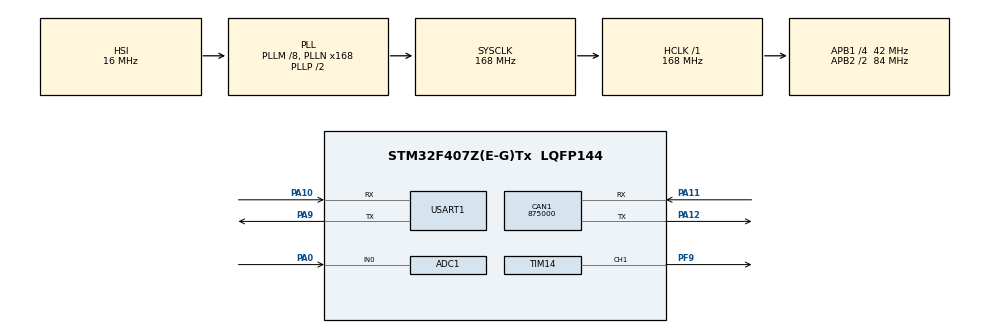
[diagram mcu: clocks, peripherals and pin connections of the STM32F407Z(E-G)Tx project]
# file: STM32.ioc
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ADC1.Channel-2\#ChannelRegularConversion=ADC_CHANNEL_0
ADC1.DMAContinuousRequests=ENABLE
ADC1.ExternalTrigConv=ADC_EXTERNALTRIGCONV_T2_TRGO
ADC1.NbrOfConversionFlag=1
ADC1.Rank-2\#ChannelRegularConversion=1
ADC1.SamplingTime-2\#ChannelRegularConversion=ADC_SAMPLETIME_3CYCLES
ADC1.master=1
CAN1.CalculateBaudRate=875000
CAN1.CalculateTimeBit=1142
CAN1.CalculateTimeQuantum=380.95238095238096
Dma.ADC1.0.Direction=DMA_PERIPH_TO_MEMORY
Dma.ADC1.0.FIFOMode=DMA_FIFOMODE_DISABLE
Dma.ADC1.0.Instance=DMA2_Stream0
Dma.ADC1.0.MemDataAlignment=DMA_MDATAALIGN_HALFWORD
Dma.ADC1.0.MemInc=DMA_MINC_ENABLE
Dma.ADC1.0.Mode=DMA_CIRCULAR
Dma.ADC1.0.PeriphDataAlignment=DMA_PDATAALIGN_HALFWORD
Dma.ADC1.0.PeriphInc=DMA_PINC_DISABLE
Dma.ADC1.0.Priority=DMA_PRIORITY_LOW
Dma.Request0=ADC1
Mcu.Family=STM32F4
Mcu.Name=STM32F407Z(E-G)Tx
Mcu.Package=LQFP144
NVIC.CAN1_RX0_IRQn=true\:0\:0\:false\:false\:true\:true\:true\:true
NVIC.DMA2_Stream0_IRQn=true\:0\:0\:false\:false\:true\:false\:true\:true
NVIC.PriorityGroup=NVIC_PRIORITYGROUP_4
NVIC.TIM7_IRQn=true\:0\:0\:false\:false\:true\:true\:true\:true
NVIC.USART1_IRQn=true\:0\:0\:false\:false\:true\:true\:true\:true
PA0-WKUP.Signal=ADCx_IN0
PA10.Mode=Asynchronous
PA10.Signal=USART1_RX
PA11.Mode=CAN_Activate
PA11.Signal=CAN1_RX
PA12.Mode=CAN_Activate
PA12.Signal=CAN1_TX
PA13.Mode=Serial_Wire
PA13.Signal=SYS_JTMS-SWDIO
PA14.Mode=Serial_Wire
PA14.Signal=SYS_JTCK-SWCLK
PA9.Mode=Asynchronous
PA9.Signal=USART1_TX
PF9.Signal=S_TIM14_CH1
ProjectManager.HeapSize=0x200
ProjectManager.StackSize=0x400
ProjectManager.TargetToolchain=STM32CubeIDE
RCC.48MHZClocksFreq_Value=84000000
RCC.AHBFreq_Value=168000000
RCC.APB1CLKDivider=RCC_HCLK_DIV4
RCC.APB1Freq_Value=42000000
RCC.APB1TimFreq_Value=84000000
RCC.APB2CLKDivider=RCC_HCLK_DIV2
RCC.APB2Freq_Value=84000000
RCC.APB2TimFreq_Value=168000000
RCC.CortexFreq_Value=168000000
RCC.HCLKFreq_Value=168000000
RCC.HSE_VALUE=25000000
RCC.HSI_VALUE=16000000
RCC.LSE_VALUE=32768
RCC.PLLM=8
RCC.PLLN=168
RCC.SYSCLKFreq_VALUE=168000000
RCC.SYSCLKSource=RCC_SYSCLKSOURCE_PLLCLK
RCC.VCOOutputFreq_Value=336000000
SH.ADCx_IN0.0=ADC1_IN0,IN0
SH.S_TIM14_CH1.0=TIM14_CH1,PWM Generation1 CH1
TIM14.Channel=TIM_CHANNEL_1
TIM14.Period=255
TIM14.Prescaler=167
TIM2.Period=4
TIM2.Prescaler=83
TIM2.TIM_MasterOutputTrigger=TIM_TRGO_UPDATE
TIM7.Period=999
TIM7.Prescaler=167
USART1.VirtualMode=VM_ASYNC
VP_TIM14_VS_ClockSourceINT.Mode=Enable_Timer
VP_TIM2_VS_ClockSourceINT.Mode=Internal
VP_TIM7_VS_ClockSourceINT.Mode=Enable_Timer
board=custom

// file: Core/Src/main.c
/* USER CODE BEGIN Header */
/**
  ******************************************************************************
  * @file           : main.c
  * @brief          : Main program body
  ******************************************************************************
  * @attention
  *
  * Copyright (c) 2025 STMicroelectronics.
  * All rights reserved.
  *
  * This software is licensed under terms that can be found in the LICENSE file
  * in the root directory of this software component.
  * If no LICENSE file comes with this software, it is provided AS-IS.
  *
  ******************************************************************************
  */
/* USER CODE END Header */
#include "main.h"

/* USER CODE BEGIN Includes */
#include <string.h>
#include <stdio.h>
#include <stdlib.h>

#include "motor_task.h"
#include "dji_motor.h"
/* USER CODE END Includes */

ADC_HandleTypeDef hadc1;
DMA_HandleTypeDef hdma_adc1;

CAN_HandleTypeDef hcan1;

TIM_HandleTypeDef htim2;
TIM_HandleTypeDef htim7;
TIM_HandleTypeDef htim14;

UART_HandleTypeDef huart1;

/* USER CODE BEGIN PV */
//灯光部分
typedef enum {
  MODE_OFF = 0,
  MODE_ON,
  MODE_BLINK,
  MODE_BREATHE
} LightMode_t;

volatile LightMode_t current_mode = MODE_OFF;

volatile uint8_t  target_brightness = 128;
volatile uint16_t target_freq = 1;

static uint8_t rx_char = 0;
static char    rx_buf[64];
static uint8_t rx_idx = 0;

static uint32_t last_tick_ms = 0;
static uint8_t  blink_state = 0;

static int8_t   breathe_dir = 1;
static float    breathe_val = 0.0f;

//测量部份
#define ADC_FS_HZ   200000u
#define ADC_BUF_LEN 2048u

extern ADC_HandleTypeDef hadc1;
extern TIM_HandleTypeDef htim2;
extern UART_HandleTypeDef huart1;

static uint16_t adc_buf[ADC_BUF_LEN];
static volatile uint8_t adc_half_ready = 0;
static volatile uint8_t adc_full_ready = 0;

static volatile uint32_t freq_hz = 0;

//电机部分
static MotorCtrl_t g_motor;

/* USER CODE END PV */

void SystemClock_Config(void);
static void MX_GPIO_Init(void);
static void MX_DMA_Init(void);
static void MX_TIM14_Init(void);
static void MX_USART1_UART_Init(void);
static void MX_ADC1_Init(void);
static void MX_TIM2_Init(void);
static void MX_CAN1_Init(void);
static void MX_TIM7_Init(void);

/* USER CODE BEGIN 0 */

//灯光部分
static void UART_Send(const char *s)
{
  HAL_UART_Transmit(&huart1, (uint8_t*)s, (uint16_t)strlen(s), 200);
}

static void rtrim(char *s)
{
  size_t n = strlen(s);
  while (n > 0) {
    char c = s[n - 1];
    if (c == ' ' || c == '\t') {
      s[n - 1] = '\0';
      n--;
    } else {
      break;
    }
  }
}

static uint16_t clamp_u16(int v, int lo, int hi)
{
  if (v < lo) return (uint16_t)lo;
  if (v > hi) return (uint16_t)hi;
  return (uint16_t)v;
}

static uint8_t clamp_u8(int v, int lo, int hi)
{
  if (v < lo) return (uint8_t)lo;
  if (v > hi) return (uint8_t)hi;
  return (uint8_t)v;
}

static void PWM_Set(uint8_t b)
{
  __HAL_TIM_SET_COMPARE(&htim14, TIM_CHANNEL_1, b);
}

static void parse_command(char *cmd)
{
  rtrim(cmd);

  if (strcmp(cmd, "set_mode on") == 0) {
    current_mode = MODE_ON;
    UART_Send("OK: mode=ON\r\n");
    return;
  }

  if (strcmp(cmd, "set_mode off") == 0) {
    current_mode = MODE_OFF;
    UART_Send("OK: mode=OFF\r\n");
    return;
  }

  if (strncmp(cmd, "set_mode blink", 14) == 0) {
    int f = atoi(cmd + 15);
    target_freq = clamp_u16(f, 1, 20);
    current_mode = MODE_BLINK;
    UART_Send("OK: mode=BLINK\r\n");
    return;
  }

  if (strncmp(cmd, "set_mode breathe", 16) == 0) {
    int f = atoi(cmd + 17);
    target_freq = clamp_u16(f, 1, 20);
    current_mode = MODE_BREATHE;
    UART_Send("OK: mode=BREATHE\r\n");
    return;
  }

  if (strncmp(cmd, "set_brightness", 14) == 0) {
    int b = atoi(cmd + 15);
    target_brightness = clamp_u8(b, 0, 255);
    UART_Send("OK: brightness updated\r\n");
    return;
  }

  //电机部分
  if (strncmp(cmd, "set_vel", 7) == 0) {
      int v = atoi(cmd + 8);
      MotorTask_SetVel(&g_motor, v);
      UART_Send("OK: motor set_vel\r\n");
      return;
  }

  if (strncmp(cmd, "set_pos", 7) == 0) {
      int p = atoi(cmd + 8);
      MotorTask_SetPos(&g_motor, p);
      UART_Send("OK: motor set_pos\r\n");
      return;
  }
  UART_Send("ERR: unknown command\r\n");

}

//测量部份
static uint32_t estimate_freq_hz(const uint16_t *buf, uint32_t len)
{
  uint16_t mn = 0xFFFF, mx = 0;
  for (uint32_t i = 0; i < len; i++) {
    uint16_t v = buf[i];
    if (v < mn) mn = v;
    if (v > mx) mx = v;
  }
  uint16_t thr = (uint16_t)((mn + mx) / 2u);

  uint32_t edges[64];
  uint32_t ecnt = 0;

  uint16_t prev = buf[0];
  for (uint32_t i = 1; i < len; i++) {
    uint16_t cur = buf[i];
    if (prev < thr && cur > thr) {
      if (ecnt < 64) edges[ecnt++] = i;
    }
    prev = cur;
  }

  if (ecnt < 2) return 0;

  uint32_t sum = 0, cnt = 0;
  for (uint32_t k = 1; k < ecnt; k++) {
    uint32_t d = edges[k] - edges[k-1];
    if (d >= 10 && d <= 1000) { sum += d; cnt++; }
  }
  if (cnt == 0) return 0;

  uint32_t avg = sum / cnt;
  return (uint32_t)(ADC_FS_HZ / avg);
}

static void uart_print_freq(uint32_t f)
{
  char msg[64];
  int n = snprintf(msg, sizeof(msg), "MEAS: %lu Hz\r\n", (unsigned long)f);
  if (n > 0) HAL_UART_Transmit(&huart1, (uint8_t*)msg, strlen(msg), 200);
}

//数字转模拟 报文
#define ADC_MAX_CODE 4095u
#define ADC_VREF_MV  3300u

typedef struct {
  uint32_t freq_hz;
  uint16_t vmin_mv;
  uint16_t vmax_mv;
  uint16_t vpp_mv;
  uint16_t vavg_mv;
} MeasResult_t;

static void measure_voltage_and_freq(const uint16_t *buf, uint32_t len, MeasResult_t *out)
{
  uint32_t sum = 0;
  uint16_t mn = 0xFFFF, mx = 0;

  for (uint32_t i = 0; i < len; i++) {
    uint16_t v = buf[i];
    if (v < mn) mn = v;
    if (v > mx) mx = v;
    sum += v;
  }

  uint32_t avg_code = (len > 0) ? (sum / len) : 0;

  uint32_t vmin_mv = (uint32_t)mn * ADC_VREF_MV / ADC_MAX_CODE;
  uint32_t vmax_mv = (uint32_t)mx * ADC_VREF_MV / ADC_MAX_CODE;
  uint32_t vavg_mv = (uint32_t)avg_code * ADC_VREF_MV / ADC_MAX_CODE;

  out->vmin_mv = (uint16_t)vmin_mv;
  out->vmax_mv = (uint16_t)vmax_mv;
  out->vpp_mv  = (uint16_t)(vmax_mv - vmin_mv);
  out->vavg_mv = (uint16_t)vavg_mv;

  out->freq_hz = estimate_freq_hz(buf, len);
}

static void uart_send_meas_frame(const MeasResult_t *m)
{
  uint8_t frame[17];
  frame[0] = 0xAA;
  frame[1] = 0x55;
  frame[2] = 0x01;
  frame[3] = 12;

  uint32_t f = m->freq_hz;
  frame[4]  = (uint8_t)(f);
  frame[5]  = (uint8_t)(f >> 8);
  frame[6]  = (uint8_t)(f >> 16);
  frame[7]  = (uint8_t)(f >> 24);

  uint16_t v;

  v = m->vmin_mv;
  frame[8]  = (uint8_t)(v);
  frame[9]  = (uint8_t)(v >> 8);

  v = m->vmax_mv;
  frame[10] = (uint8_t)(v);
  frame[11] = (uint8_t)(v >> 8);

  v = m->vpp_mv;
  frame[12] = (uint8_t)(v);
  frame[13] = (uint8_t)(v >> 8);

  v = m->vavg_mv;
  frame[14] = (uint8_t)(v);
  frame[15] = (uint8_t)(v >> 8);

  uint8_t cs = 0;
  for (int i = 2; i <= 15; i++) cs += frame[i];
  frame[16] = cs;

  HAL_UART_Transmit(&huart1, frame, sizeof(frame), 200);
}

static void uart_print_meas_text(const MeasResult_t *m)
{
  char msg[96];
  int n = snprintf(msg, sizeof(msg),
                   "MEAS: %lu Hz, Vmin=%umV, Vmax=%umV, Vpp=%umV, Vavg=%umV\r\n",
                   (unsigned long)m->freq_hz,
                   (unsigned)m->vmin_mv,
                   (unsigned)m->vmax_mv,
                   (unsigned)m->vpp_mv,
                   (unsigned)m->vavg_mv);
  if (n > 0) HAL_UART_Transmit(&huart1, (uint8_t*)msg, (uint16_t)strlen(msg), 200);
}
/* USER CODE END 0 */

int main(void)
{

  /* MCU Configuration--------------------------------------------------------*/

  /* Reset of all peripherals, Initializes the Flash interface and the Systick. */
  HAL_Init();

  /* Configure the system clock */
  SystemClock_Config();

  /* Initialize all configured peripherals */
  MX_GPIO_Init();
  MX_DMA_Init();
  MX_TIM14_Init();
  MX_USART1_UART_Init();
  MX_ADC1_Init();
  MX_TIM2_Init();
  MX_CAN1_Init();
  MX_TIM7_Init();
  /* USER CODE BEGIN 2 */
  //灯光部分
  HAL_TIM_PWM_Start(&htim14, TIM_CHANNEL_1);
  HAL_UART_Receive_IT(&huart1, &rx_char, 1);

  UART_Send("System Boot OK. Awaiting commands...\r\n");

  PWM_Set(0);
  current_mode = MODE_OFF;

  last_tick_ms = HAL_GetTick();
  blink_state = 0;
  breathe_dir = 1;
  breathe_val = 0.0f;

  //测量部份
  HAL_TIM_Base_Start(&htim2);
  HAL_ADC_Start_DMA(&hadc1, (uint32_t*)adc_buf, ADC_BUF_LEN);

  //电机部分
  MotorTask_Init(&g_motor);

  HAL_TIM_Base_Start_IT(&htim7);

  HAL_CAN_Start(&hcan1);
  HAL_CAN_ActivateNotification(&hcan1, CAN_IT_RX_FIFO0_MSG_PENDING);

  UART_Send("Motor module ready. Commands: set_vel / set_pos\r\n");

  /* USER CODE END 2 */

  /* Infinite loop */
  /* USER CODE BEGIN WHILE */
  while (1)
  {
	  //灯光部分
	  uint32_t now = HAL_GetTick();

	  switch (current_mode)
	  {
	    case MODE_OFF:
	      PWM_Set(0);
	      break;

	    case MODE_ON:
	      PWM_Set((uint8_t)target_brightness);
	      break;

	    case MODE_BLINK:
	    {
	      uint16_t f = target_freq;
	      uint32_t half_ms = 500u / (uint32_t)f;

	      if ((now - last_tick_ms) >= half_ms) {
	        blink_state = (uint8_t)!blink_state;
	        PWM_Set(blink_state ? (uint8_t)target_brightness : 0);
	        last_tick_ms = now;
	      }
	      break;
	    }

	    case MODE_BREATHE:
	    {
	      if ((now - last_tick_ms) >= 10u) {
	        uint16_t f = target_freq;
	        float peak = (float)target_brightness;

	        float step = peak * ((float)f) / 50.0f;

	        breathe_val += (float)breathe_dir * step;

	        if (breathe_val >= peak) { breathe_val = peak; breathe_dir = -1; }
	        if (breathe_val <= 0.0f) { breathe_val = 0.0f; breathe_dir =  1; }

	        PWM_Set((uint8_t)(breathe_val + 0.5f));
	        last_tick_ms = now;
	      }
	      break;
	    }

	    default:
	      PWM_Set(0);
	      current_mode = MODE_OFF;
	      break;
	  }

	  //测量部份
	  /* ===== 测量：半缓冲/满缓冲处理 ===== */
	  if (adc_half_ready) {
	    adc_half_ready = 0;

	    MeasResult_t m;
	    measure_voltage_and_freq(&adc_buf[0], ADC_BUF_LEN/2, &m);
	    uart_send_meas_frame(&m);

	    uart_print_meas_text(&m);
	  }

	  if (adc_full_ready) {
	    adc_full_ready = 0;

	    MeasResult_t m;
	    measure_voltage_and_freq(&adc_buf[ADC_BUF_LEN/2], ADC_BUF_LEN/2, &m);

	    uart_send_meas_frame(&m);
	    uart_print_meas_text(&m);
	  }

    /* USER CODE END WHILE */

  }
}

void SystemClock_Config(void)
{
  RCC_OscInitTypeDef RCC_OscInitStruct = {0};
  RCC_ClkInitTypeDef RCC_ClkInitStruct = {0};

  /** Configure the main internal regulator output voltage
  */
  __HAL_RCC_PWR_CLK_ENABLE();
  __HAL_PWR_VOLTAGESCALING_CONFIG(PWR_REGULATOR_VOLTAGE_SCALE1);

  /** Initializes the RCC Oscillators according to the specified parameters
  * in the RCC_OscInitTypeDef structure.
  */
  RCC_OscInitStruct.OscillatorType = RCC_OSCILLATORTYPE_HSI;
  RCC_OscInitStruct.HSIState = RCC_HSI_ON;
  RCC_OscInitStruct.HSICalibrationValue = RCC_HSICALIBRATION_DEFAULT;
  RCC_OscInitStruct.PLL.PLLState = RCC_PLL_ON;
  RCC_OscInitStruct.PLL.PLLSource = RCC_PLLSOURCE_HSI;
  RCC_OscInitStruct.PLL.PLLM = 8;
  RCC_OscInitStruct.PLL.PLLN = 168;
  RCC_OscInitStruct.PLL.PLLP = RCC_PLLP_DIV2;
  RCC_OscInitStruct.PLL.PLLQ = 4;
  if (HAL_RCC_OscConfig(&RCC_OscInitStruct) != HAL_OK)
  {
    Error_Handler();
  }

  /** Initializes the CPU, AHB and APB buses clocks
  */
  RCC_ClkInitStruct.ClockType = RCC_CLOCKTYPE_HCLK|RCC_CLOCKTYPE_SYSCLK
                              |RCC_CLOCKTYPE_PCLK1|RCC_CLOCKTYPE_PCLK2;
  RCC_ClkInitStruct.SYSCLKSource = RCC_SYSCLKSOURCE_PLLCLK;
  RCC_ClkInitStruct.AHBCLKDivider = RCC_SYSCLK_DIV1;
  RCC_ClkInitStruct.APB1CLKDivider = RCC_HCLK_DIV4;
  RCC_ClkInitStruct.APB2CLKDivider = RCC_HCLK_DIV2;

  if (HAL_RCC_ClockConfig(&RCC_ClkInitStruct, FLASH_LATENCY_5) != HAL_OK)
  {
    Error_Handler();
  }
}

static void MX_ADC1_Init(void)
{

  ADC_ChannelConfTypeDef sConfig = {0};

  /** Configure the global features of the ADC (Clock, Resolution, Data Alignment and number of conversion)
  */
  hadc1.Instance = ADC1;
  hadc1.Init.ClockPrescaler = ADC_CLOCK_SYNC_PCLK_DIV4;
  hadc1.Init.Resolution = ADC_RESOLUTION_12B;
  hadc1.Init.ScanConvMode = DISABLE;
  hadc1.Init.ContinuousConvMode = DISABLE;
  hadc1.Init.DiscontinuousConvMode = DISABLE;
  hadc1.Init.ExternalTrigConvEdge = ADC_EXTERNALTRIGCONVEDGE_RISING;
  hadc1.Init.ExternalTrigConv = ADC_EXTERNALTRIGCONV_T2_TRGO;
  hadc1.Init.DataAlign = ADC_DATAALIGN_RIGHT;
  hadc1.Init.NbrOfConversion = 1;
  hadc1.Init.DMAContinuousRequests = ENABLE;
  hadc1.Init.EOCSelection = ADC_EOC_SINGLE_CONV;
  if (HAL_ADC_Init(&hadc1) != HAL_OK)
  {
    Error_Handler();
  }

  /** Configure for the selected ADC regular channel its corresponding rank in the sequencer and its sample time.
  */
  sConfig.Channel = ADC_CHANNEL_0;
  sConfig.Rank = 1;
  sConfig.SamplingTime = ADC_SAMPLETIME_3CYCLES;
  if (HAL_ADC_ConfigChannel(&hadc1, &sConfig) != HAL_OK)
  {
    Error_Handler();
  }

}

static void MX_CAN1_Init(void)
{

  hcan1.Instance = CAN1;
  hcan1.Init.Prescaler = 16;
  hcan1.Init.Mode = CAN_MODE_NORMAL;
  hcan1.Init.SyncJumpWidth = CAN_SJW_1TQ;
  hcan1.Init.TimeSeg1 = CAN_BS1_1TQ;
  hcan1.Init.TimeSeg2 = CAN_BS2_1TQ;
  hcan1.Init.TimeTriggeredMode = DISABLE;
  hcan1.Init.AutoBusOff = DISABLE;
  hcan1.Init.AutoWakeUp = DISABLE;
  hcan1.Init.AutoRetransmission = DISABLE;
  hcan1.Init.ReceiveFifoLocked = DISABLE;
  hcan1.Init.TransmitFifoPriority = DISABLE;
  if (HAL_CAN_Init(&hcan1) != HAL_OK)
  {
    Error_Handler();
  }

}

static void MX_TIM2_Init(void)
{

  TIM_ClockConfigTypeDef sClockSourceConfig = {0};
  TIM_MasterConfigTypeDef sMasterConfig = {0};

  htim2.Instance = TIM2;
  htim2.Init.Prescaler = 83;
  htim2.Init.CounterMode = TIM_COUNTERMODE_UP;
  htim2.Init.Period = 4;
  htim2.Init.ClockDivision = TIM_CLOCKDIVISION_DIV1;
  htim2.Init.AutoReloadPreload = TIM_AUTORELOAD_PRELOAD_DISABLE;
  if (HAL_TIM_Base_Init(&htim2) != HAL_OK)
  {
    Error_Handler();
  }
  sClockSourceConfig.ClockSource = TIM_CLOCKSOURCE_INTERNAL;
  if (HAL_TIM_ConfigClockSource(&htim2, &sClockSourceConfig) != HAL_OK)
  {
    Error_Handler();
  }
  sMasterConfig.MasterOutputTrigger = TIM_TRGO_UPDATE;
  sMasterConfig.MasterSlaveMode = TIM_MASTERSLAVEMODE_DISABLE;
  if (HAL_TIMEx_MasterConfigSynchronization(&htim2, &sMasterConfig) != HAL_OK)
  {
    Error_Handler();
  }

}

static void MX_TIM7_Init(void)
{

  TIM_MasterConfigTypeDef sMasterConfig = {0};

  htim7.Instance = TIM7;
  htim7.Init.Prescaler = 167;
  htim7.Init.CounterMode = TIM_COUNTERMODE_UP;
  htim7.Init.Period = 999;
  htim7.Init.AutoReloadPreload = TIM_AUTORELOAD_PRELOAD_DISABLE;
  if (HAL_TIM_Base_Init(&htim7) != HAL_OK)
  {
    Error_Handler();
  }
  sMasterConfig.MasterOutputTrigger = TIM_TRGO_RESET;
  sMasterConfig.MasterSlaveMode = TIM_MASTERSLAVEMODE_DISABLE;
  if (HAL_TIMEx_MasterConfigSynchronization(&htim7, &sMasterConfig) != HAL_OK)
  {
    Error_Handler();
  }

}

static void MX_TIM14_Init(void)
{

  TIM_OC_InitTypeDef sConfigOC = {0};

  htim14.Instance = TIM14;
  htim14.Init.Prescaler = 167;
  htim14.Init.CounterMode = TIM_COUNTERMODE_UP;
  htim14.Init.Period = 255;
  htim14.Init.ClockDivision = TIM_CLOCKDIVISION_DIV1;
  htim14.Init.AutoReloadPreload = TIM_AUTORELOAD_PRELOAD_DISABLE;
  if (HAL_TIM_Base_Init(&htim14) != HAL_OK)
  {
    Error_Handler();
  }
  if (HAL_TIM_PWM_Init(&htim14) != HAL_OK)
  {
    Error_Handler();
  }
  sConfigOC.OCMode = TIM_OCMODE_PWM1;
  sConfigOC.Pulse = 0;
  sConfigOC.OCPolarity = TIM_OCPOLARITY_HIGH;
  sConfigOC.OCFastMode = TIM_OCFAST_DISABLE;
  if (HAL_TIM_PWM_ConfigChannel(&htim14, &sConfigOC, TIM_CHANNEL_1) != HAL_OK)
  {
    Error_Handler();
  }
  HAL_TIM_MspPostInit(&htim14);

}

static void MX_USART1_UART_Init(void)
{

  huart1.Instance = USART1;
  huart1.Init.BaudRate = 115200;
  huart1.Init.WordLength = UART_WORDLENGTH_8B;
  huart1.Init.StopBits = UART_STOPBITS_1;
  huart1.Init.Parity = UART_PARITY_NONE;
  huart1.Init.Mode = UART_MODE_TX_RX;
  huart1.Init.HwFlowCtl = UART_HWCONTROL_NONE;
  huart1.Init.OverSampling = UART_OVERSAMPLING_16;
  if (HAL_UART_Init(&huart1) != HAL_OK)
  {
    Error_Handler();
  }

}

static void MX_DMA_Init(void)
{

  /* DMA controller clock enable */
  __HAL_RCC_DMA2_CLK_ENABLE();

  /* DMA interrupt init */
  /* DMA2_Stream0_IRQn interrupt configuration */
  HAL_NVIC_SetPriority(DMA2_Stream0_IRQn, 0, 0);
  HAL_NVIC_EnableIRQ(DMA2_Stream0_IRQn);

}

static void MX_GPIO_Init(void)
{

  /* GPIO Ports Clock Enable */
  __HAL_RCC_GPIOF_CLK_ENABLE();
  __HAL_RCC_GPIOA_CLK_ENABLE();

}

/* USER CODE BEGIN 4 */
//灯光部分
void HAL_UART_RxCpltCallback(UART_HandleTypeDef *huart)
{
  if (huart->Instance == USART1) {

    if (rx_char == '\r' || rx_char == '\n') {
      rx_buf[rx_idx] = '\0';
      if (rx_idx > 0) {
        parse_command(rx_buf);
      }
      rx_idx = 0;
    } else {
      if (rx_idx < (sizeof(rx_buf) - 1)) {
        rx_buf[rx_idx++] = (char)rx_char;
      } else {
        rx_idx = 0;
        UART_Send("ERR: line too long\r\n");
      }
    }

    HAL_UART_Receive_IT(&huart1, &rx_char, 1);
  }
}

//测量部份
void HAL_ADC_ConvHalfCpltCallback(ADC_HandleTypeDef *hadc)
{
  if (hadc->Instance == ADC1) adc_half_ready = 1;
}

void HAL_ADC_ConvCpltCallback(ADC_HandleTypeDef *hadc)
{
  if (hadc->Instance == ADC1) adc_full_ready = 1;
}

//电机部分
void HAL_TIM_PeriodElapsedCallback(TIM_HandleTypeDef *htim)
{
    if (htim->Instance == TIM7) {
        MotorTask_1ms(&g_motor);
    }
}

/* USER CODE END 4 */

void Error_Handler(void)
{
  __disable_irq();
  while (1)
  {
  }
}
